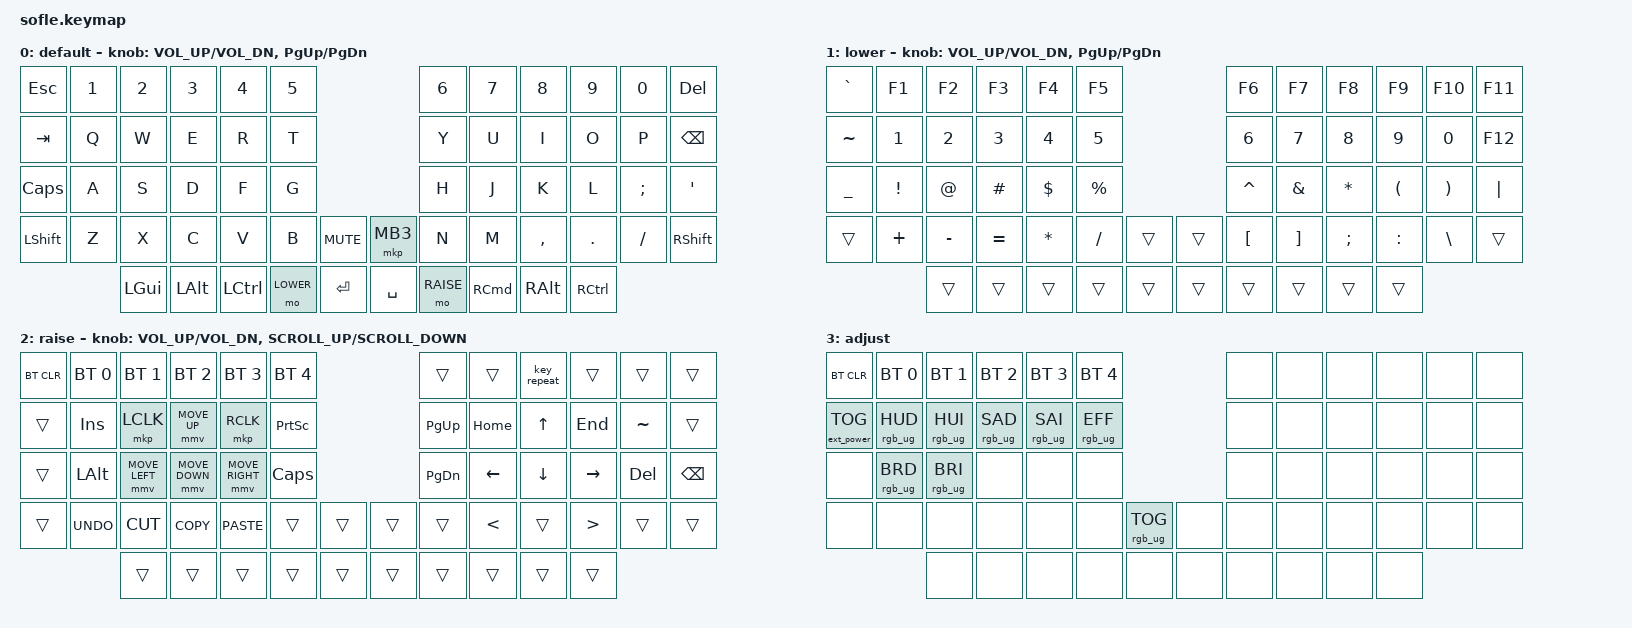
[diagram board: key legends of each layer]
/*
 * Copyright (c) 2020 The ZMK Contributors
 *
 * SPDX-License-Identifier: MIT
 */

#include <behaviors.dtsi>
#include <dt-bindings/zmk/bt.h>
#include <dt-bindings/zmk/ext_power.h>
#include <dt-bindings/zmk/keys.h>
#include <dt-bindings/zmk/pointing.h>
#include <dt-bindings/zmk/rgb.h>

#define BASE 0
#define LOWER 1
#define RAISE 2
#define ADJUST 3

/ {
    // Activate ADJUST layer by pressing raise and lower

    conditional_layers {
        compatible = "zmk,conditional-layers";

        adjust_layer {
            if-layers = <LOWER RAISE>;
            then-layer = <ADJUST>;
        };
    };

    keymap {
        compatible = "zmk,keymap";

        default_layer {
            display-name = "default";

            // ------------------------------------------------------------------------------------------------------------
            // |   `   |  1  |  2  |  3   |  4   |  5   |                   |  6   |  7    |  8    |  9   |   0   |       |
            // |  ESC  |  Q  |  W  |  E   |  R   |  T   |                   |  Y   |  U    |  I    |  O   |   P   | BKSPC |
            // |  TAB  |  A  |  S  |  D   |  F   |  G   |                   |  H   |  J    |  K    |  L   |   ;   |   '   |
            // | SHIFT |  Z  |  X  |  C   |  V   |  B   |  MUTE  |  |       |  N   |  M    |  ,    |  .   |   /   | SHIFT |
            //               | GUI | ALT  | CTRL | LOWER|  ENTER |  | SPACE | RAISE| CTRL  | ALT   | GUI  |

            bindings = <
&kp ESC    &kp N1  &kp N2    &kp N3    &kp N4     &kp N5                              &kp N6     &kp N7             &kp N8     &kp N9             &kp N0    &kp DELETE
&kp TAB    &kp Q   &kp W     &kp E     &kp R      &kp T                               &kp Y      &kp U              &kp I      &kp O              &kp P     &kp BSPC
&kp CAPS   &kp A   &kp S     &kp D     &kp F      &kp G                               &kp H      &kp J              &kp K      &kp L              &kp SEMI  &kp SQT
&kp LSHFT  &kp Z   &kp X     &kp C     &kp V      &kp B      &kp C_MUTE    &mkp MB3   &kp N      &kp M              &kp COMMA  &kp DOT            &kp FSLH  &kp RSHFT
                   &kp LGUI  &kp LALT  &kp LCTRL  &mo LOWER  &kp RET       &kp SPACE  &mo RAISE  &kp RIGHT_COMMAND  &kp RALT   &kp RIGHT_CONTROL
            >;

            sensor-bindings = <&inc_dec_kp C_VOL_UP C_VOL_DN &inc_dec_kp PG_UP PG_DN>;
        };

        lower_layer {
            display-name = "lower";

            // TODO: Some binds are waiting for shifted keycode support.
            // ------------------------------------------------------------------------------------------------------------
            // |       |  F1 |  F2 |  F3  |  F4  |  F5  |                   |  F6  |  F7   |  F8   |  F9  |  F10  |  F11  |
            // |   `   |  1  |  2  |  3   |  4   |  5   |                   |  6   |  7    |  8    |  9   |   0   |  F12  |
            // |       |  !  |  @  |  #   |  $   |  %   |                   |  ^   |  &    |  *    |  (   |   )   |   |   |
            // |       |  =  |  -  |  +   |  {   |  }   |        |  |       |  [   |  ]    |  ;    |  :   |   \   |       |
            //               |     |      |      |      |        |  |       |      |       |       |      |

            bindings = <
&kp GRAVE       &kp F1    &kp F2     &kp F3     &kp F4    &kp F5                       &kp F6     &kp F7    &kp F8     &kp F9     &kp F10   &kp F11
&kp TILDE       &kp N1    &kp N2     &kp N3     &kp N4    &kp N5                       &kp N6     &kp N7    &kp N8     &kp N9     &kp N0    &kp F12
&kp UNDERSCORE  &kp EXCL  &kp AT     &kp HASH   &kp DLLR  &kp PRCNT                    &kp CARET  &kp AMPS  &kp ASTRK  &kp LPAR   &kp RPAR  &kp PIPE
&trans          &kp PLUS  &kp MINUS  &kp EQUAL  &kp STAR  &kp SLASH  &trans    &trans  &kp LBKT   &kp RBKT  &kp SEMI   &kp COLON  &kp BSLH  &trans
                          &trans     &trans     &trans    &trans     &trans    &trans  &trans     &trans    &trans     &trans
            >;

            sensor-bindings = <&inc_dec_kp C_VOL_UP C_VOL_DN &inc_dec_kp PG_UP PG_DN>;
        };

        raise_layer {
            display-name = "raise";

            // ------------------------------------------------------------------------------------------------------------
            // | BTCLR | BT1  | BT2  |  BT3  |  BT4  |  BT5 |                |      |      |       |      |       |       |
            // |       | INS  | PSCR | GUI   |       |      |                | PGUP |      |   ^   |      |       |       |
            // |       | ALT  | CTRL | SHIFT |       | CAPS |                | PGDN |   <- |   v   |  ->  |  DEL  | BKSPC |
            // |       | UNDO | CUT  | COPY  | PASTE |      |      |  |      |      |      |       |      |       |       |
            //                |      |       |       |      |      |  |      |      |      |       |      |

            bindings = <
&bt BT_CLR  &bt BT_SEL 0  &bt BT_SEL 1    &bt BT_SEL 2    &bt BT_SEL 3     &bt BT_SEL 4                       &trans         &trans         &key_repeat  &trans            &trans     &trans
&trans      &kp INS       &mkp LCLK       &mmv MOVE_UP    &mkp RCLK        &kp PRINTSCREEN                    &kp PAGE_UP    &kp HOME       &kp UP       &kp END           &kp TILDE  &trans
&trans      &kp LALT      &mmv MOVE_LEFT  &mmv MOVE_DOWN  &mmv MOVE_RIGHT  &kp CLCK                           &kp PAGE_DOWN  &kp LEFT       &kp DOWN     &kp RIGHT         &kp DEL    &kp BSPC
&trans      &kp K_UNDO    &kp K_CUT       &kp K_COPY      &kp K_PASTE      &trans           &trans    &trans  &trans         &kp LESS_THAN  &trans       &kp GREATER_THAN  &trans     &trans
                          &trans          &trans          &trans           &trans           &trans    &trans  &trans         &trans         &trans       &trans
            >;

            sensor-bindings =
                <&inc_dec_kp C_VOL_UP C_VOL_DN>,
                <&inc_dec_kp K_SCROLL_UP K_SCROLL_DOWN>;
        };

        adjust_layer {
            // ----------------------------------------------------------------------------------------------------------------------------
            // | BTCLR  |  BT1    |  BT2    |   BT3   |   BT4   |   BT5   |                  |      |      |       |      |       |       |
            // | EXTPWR | RGB_HUD | RGB_HUI | RGB_SAD | RGB_SAI | RGB_EFF |                  |      |      |       |      |       |       |
            // |        | RGB_BRD | RGB_BRI |         |         |         |                  |      |      |       |      |       |       |
            // |        |         |         |         |         |         | RGB_TOG | |      |      |      |       |      |       |       |
            //                    |         |         |         |         |         | |      |      |      |       |      |

            display-name = "adjust";
            bindings = <
&bt BT_CLR         &bt BT_SEL 0     &bt BT_SEL 1     &bt BT_SEL 2     &bt BT_SEL 3     &bt BT_SEL 4                               &none  &none  &none  &none  &none  &none
&ext_power EP_TOG  &rgb_ug RGB_HUD  &rgb_ug RGB_HUI  &rgb_ug RGB_SAD  &rgb_ug RGB_SAI  &rgb_ug RGB_EFF                            &none  &none  &none  &none  &none  &none
&none              &rgb_ug RGB_BRD  &rgb_ug RGB_BRI  &none            &none            &none                                      &none  &none  &none  &none  &none  &none
&none              &none            &none            &none            &none            &none            &rgb_ug RGB_TOG    &none  &none  &none  &none  &none  &none  &none
                                    &none            &none            &none            &none            &none              &none  &none  &none  &none  &none
            >;
        };
    };
};
